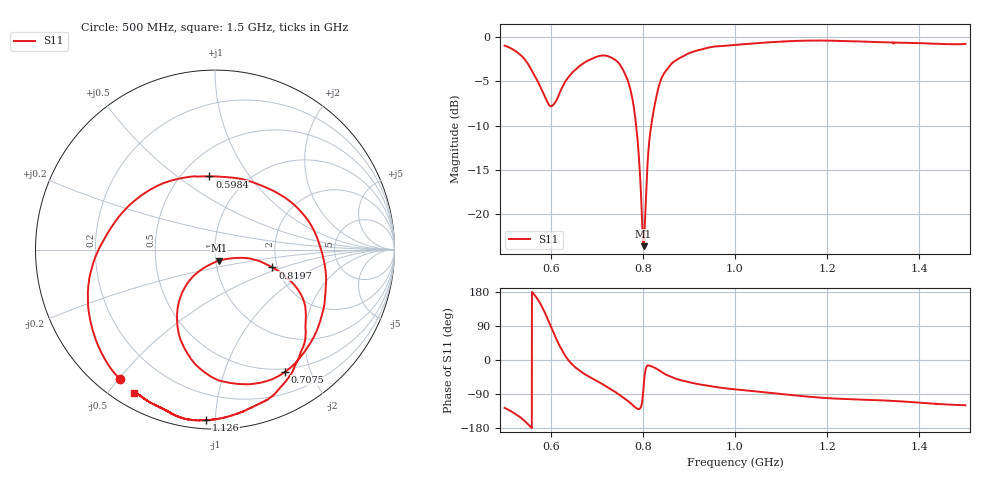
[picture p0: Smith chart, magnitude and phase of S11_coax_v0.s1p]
# HZ S RI R 50
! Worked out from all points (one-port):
!   3201 points, 500 MHz to 1.5 GHz, reference 50 ohm
!   lowest |S11| = -23.6 dB at 801.6 MHz (marker M1), VSWR 1.14, Z = 51.9 - j6.45 ohm
!   |S11| at or under -10 dB: 785.5 MHz to 818.3 MHz (32.77 MHz wide, 4.09 % of centre)
!   S11 on the Smith chart (normalised r, x): 500 MHz: 0.07, -0.50; 598.4 MHz: 0.68, +0.66; 707.5 MHz: 0.46, -1.63; 819.7 MHz: 1.88, -0.42; 1.126 GHz: 0.05, -0.95; 1.5 GHz: 0.06, -0.58
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5e8  -0.5305 -0.7226
5.28125e8  -0.679 -0.4569
5.540625e8  -0.6798 -0.0793
5.753125e8  -0.4829 0.2419
5.984375e8  -0.0309 0.4075
6.115625e8  0.2346 0.3662
6.25e8  0.4742 0.2166
6.384375e8  0.5932 -0.00684
6.56875e8  0.6142 -0.2576
7.075e8  0.3898 -0.6814
7.290625e8  0.1842 -0.7501
7.5e8  -0.0342 -0.7001
7.80625e8  -0.2101 -0.338
7.8875e8  -0.1633 -0.2025
7.98125e8  -0.0372 -0.0876
8.015625e8  0.0222 -0.0619
8.046875e8  0.0777 -0.0503
8.128125e8  0.2325 -0.0596
8.196875e8  0.32 -0.0996
8.409375e8  0.5019 -0.3109
8.75e8  0.4751 -0.5791
9.396875e8  0.3312 -0.8052
1e9  0.1967 -0.8827
1.125e9  -0.0462 -0.9489
1.125938e9  -0.0488 -0.9492
1.25e9  -0.224 -0.922
1.375e9  -0.3227 -0.8719
1.5e9  -0.4511 -0.7981
